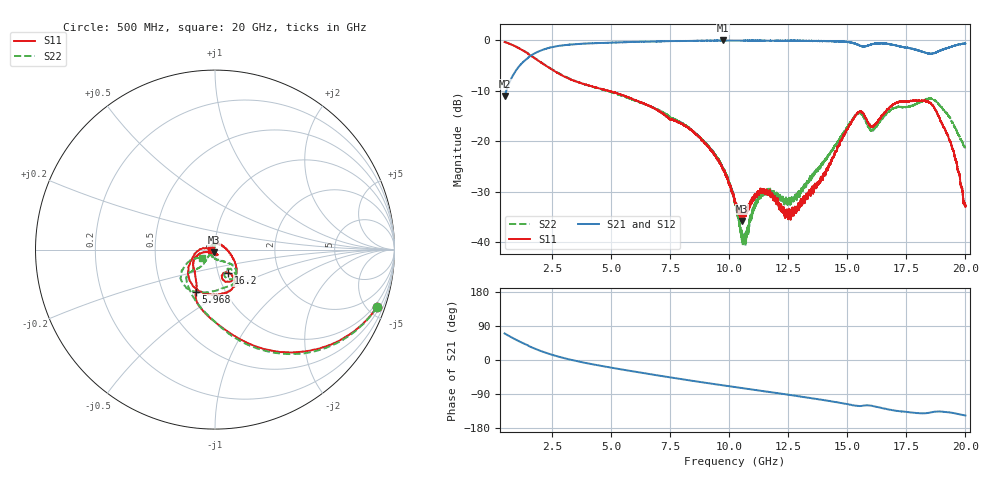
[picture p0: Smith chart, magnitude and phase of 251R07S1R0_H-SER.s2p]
!{201R07S1R0}
!Johanson Technology Inc.
!www.johansontechnology.com
!Test Board Conditions:
!Substrate Type  RO4350B
!Substrate Thickness  10 mil
!Substrate Dk  3.66
!TL Type: GCPW
!TL Trace Width  21 mil
!TL Gap  20 mil
!Electrode orientation  Horizontal
!DUT TOPOLOGY	SERIES
!Mounting Pad LxW  16x21 mil
!Agilent Technologies,N5230A,MY45001966,A.07.50.67
!Agilent N5230A: A.07.50.67
! Created Mon Mar  9 16:18:55 2020
# mhz S ma R 50
! 2 Port Network Data from SP1.SP block
! freq  magS11  angS11  magS21  angS21  magS12  angS12  magS22  angS22
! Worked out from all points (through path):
!   19501 points, 500 MHz to 20 GHz, reference 50 ohm
!   highest |S21| = -0.07 dB at 9.752 GHz (marker M1); lowest = -11.1 dB at 500 MHz (marker M2)
!   lowest |S11| = -35.7 dB at 10.53 GHz (marker M3), VSWR 1.03, Z = 49.5 - j1.55 ohm
!   |S11| at or under -10 dB: 4.853947 GHz to 4.854143 GHz (195.5 kHz wide, 0.00403 % of centre); 4.857571 GHz to 4.862571 GHz (5 MHz wide, 0.103 % of centre); 4.864 GHz to end of sweep
!   |S22| runs from -40.7 to -0.4 dB; largest |S21 - S12| = 0.013
!   S11 on the Smith chart (normalised r, x): 500 MHz: 0.75, -5.76; 5.968 GHz: 0.73, -0.37; 16.2 GHz: 1.12, -0.30; 20 GHz: 0.96, -0.01
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500  0.9578 -19.4  0.2798 70.1  0.2806 70.2  0.958 -19.5
1498  0.7354 -50.8  0.6668 38.4  0.6678 38.3  0.7402 -51.7
2483  0.514 -74.8  0.8497 14.3  0.8497 14.3  0.5187 -75.5
3750  0.3742 -95.6  0.919 -5.6  0.9189 -5.6  0.374 -94.8
5968  0.2583 -114.1  0.9583 -30.3  0.9603 -30.3  0.2549 -125.5
7000  0.2015 -121.8  0.9713 -40.8  0.9716 -40.8  0.2042 -138.4
8586  0.1179 -157.8  0.9841 -56.2  0.9849 -56.3  0.1182 -129.9
9752  0.05231 -164.6  0.9922 -66.9  0.9894 -67.0  0.05396 -134.8
10250  0.0245 -145.2  0.9896 -71.4  0.9892 -71.4  0.02418 -147.3
10532  0.01633 -106.6  0.9912 -73.9  0.9881 -74.0  0.01232 177.2
10669  0.01901 -91.8  0.9906 -75.1  0.9882 -75.1  0.0102 135.3
11073  0.02898 -66.2  0.9891 -78.8  0.9878 -78.7  0.0225 90.1
11425  0.03178 -70.8  0.9865 -82.0  0.9878 -82.0  0.0296 91.8
12557  0.01986 -171.0  0.9842 -91.9  0.9867 -92.2  0.02652 171.1
13500  0.03348 77.2  0.983 -101.1  0.9811 -101.0  0.04378 -103.6
15402  0.1859 -52.1  0.9113 -121.1  0.9126 -121.1  0.1869 -51.4
16198  0.1492 -60.3  0.9262 -123.1  0.9263 -122.9  0.1372 -51.4
16750  0.2097 -58.8  0.9171 -130.3  0.9101 -130.5  0.1954 -53.2
17864  0.2504 -88.3  0.8076 -139.5  0.8097 -139.5  0.2308 -90.7
18601  0.2266 -126.8  0.7348 -137.7  0.736 -137.5  0.2619 -132.4
19430  0.0867 -179.1  0.8667 -139.2  0.8673 -139.3  0.1549 -155.9
20000  0.02265 -173.1  0.9251 -146.5  0.9253 -146.5  0.08607 -146.9
